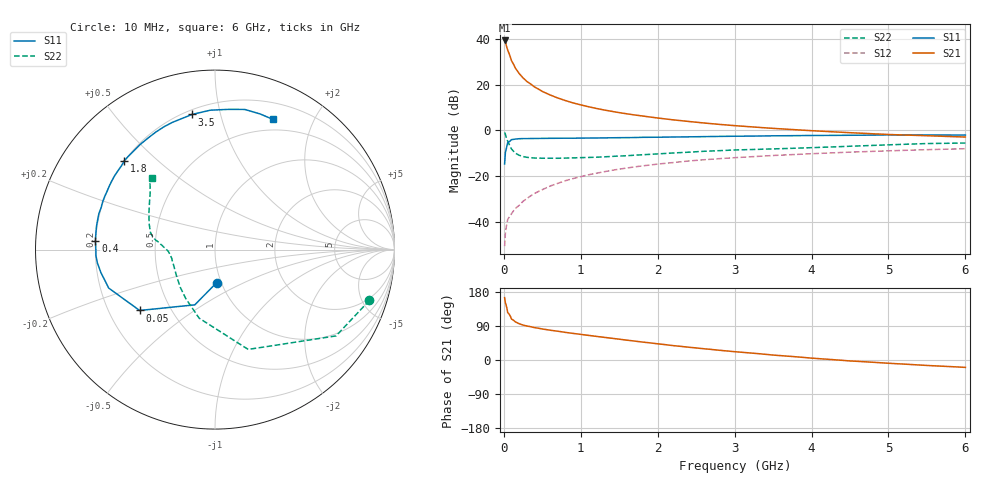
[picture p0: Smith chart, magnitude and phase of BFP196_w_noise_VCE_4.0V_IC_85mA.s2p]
! Infineon Technologies  Discrete & RF Semiconductors
! BFP196
! VCE =  4.0 V,  IC =  85 mA
! Common Emitter S-Parameters:  Jan 2017
# GHz  S  MA  R  50
!  f  S11  S21  S12  S22
! GHz  MAG  ANG  MAG  ANG  MAG  ANG  MAG  ANG
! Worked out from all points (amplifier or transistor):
!   77 points, 10 MHz to 6 GHz, reference 50 ohm
!   highest |S21| = 39.5 dB at 10 MHz (marker M1)
!   |S21| within 3 dB of that: start of sweep to 39.11 MHz
!   unconditionally stable (mu >= 1): 404.4 MHz to 2.463 GHz
!   at 130 MHz: K = 0.75, MSG = 31.9 dB, |S12| = -35.0 dB
!   at 2.2 GHz: K = 1.01, MAG = 8.7 dB, |S12| = -14.1 dB
!   at 6 GHz: K = 0.96, MSG = 2.6 dB, |S12| = -8.0 dB
!   lowest NFmin = 1.85 dB at 450 MHz
!   S11 on the Smith chart (normalised r, x): 10 MHz: 0.95, -0.36; 50 MHz: 0.33, -0.32; 400 MHz: 0.20, +0.04; 1.8 GHz: 0.20, +0.40; 3.5 GHz: 0.23, +0.82; 6 GHz: 0.38, +1.48
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0.01  0.1844 -87.1  94.22 164.6  0.0029 82.2  0.9059 -18.2
0.02  0.3278 -110.1  86.83 151.2  0.0055 71.3  0.8281 -35.5
0.05  0.54 -141.1  57.92 125.3  0.0111 58.3  0.586 -71.6
0.1  0.6298 -160.1  33.8 108.0  0.0149 58.9  0.3922 -103.0
0.15  0.6485 -168.6  23.29 100.5  0.0195 61.2  0.3178 -120.8
0.2  0.6594 -173.5  17.68 95.7  0.0228 65.0  0.2858 -132.5
0.25  0.664 -177.0  14.21 92.2  0.028 66.0  0.2678 -140.5
0.3  0.6637 -179.8  11.88 89.7  0.0322 68.7  0.2577 -147.0
0.4  0.6681 175.8  8.981 85.4  0.0416 70.2  0.2488 -155.1
0.5  0.6701 172.0  7.191 81.9  0.0503 70.3  0.246 -160.6
0.6  0.673 168.7  6.022 78.7  0.0602 69.7  0.2462 -164.9
0.7  0.6743 165.9  5.164 76.0  0.0691 69.6  0.2456 -168.2
0.9  0.676 159.8  4.022 70.2  0.0881 67.9  0.2505 -172.4
1.1  0.6822 154.3  3.319 65.0  0.1066 65.9  0.2561 -175.9
1.4  0.6912 146.1  2.634 57.4  0.1332 62.0  0.2698 -180.0
1.8  0.7074 135.5  2.08 47.4  0.1671 56.0  0.2933 175.9
2.1  0.7144 127.9  1.792 40.5  0.1904 51.7  0.3133 173.1
3.1  0.7493 106.8  1.241 20.3  0.2585 37.5  0.3771 163.5
3.5  0.7638 99.7  1.112 13.0  0.2824 32.7  0.3944 158.5
4.1  0.7777 90.4  0.969 3.5  0.314 25.1  0.4253 149.8
5.1  0.7971 76.7  0.806 -9.7  0.3619 13.3  0.4903 137.4
6  0.7942 65.9  0.717 -19.5  0.3981 3.3  0.5299 131.1
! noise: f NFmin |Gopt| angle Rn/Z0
0.45  1.85  0.51  -169  0.06
0.9  2.01  0.54  -157  0.1
1.9  2.88  0.7  -129  0.43
2.4  3.28  0.7  -116  0.89
